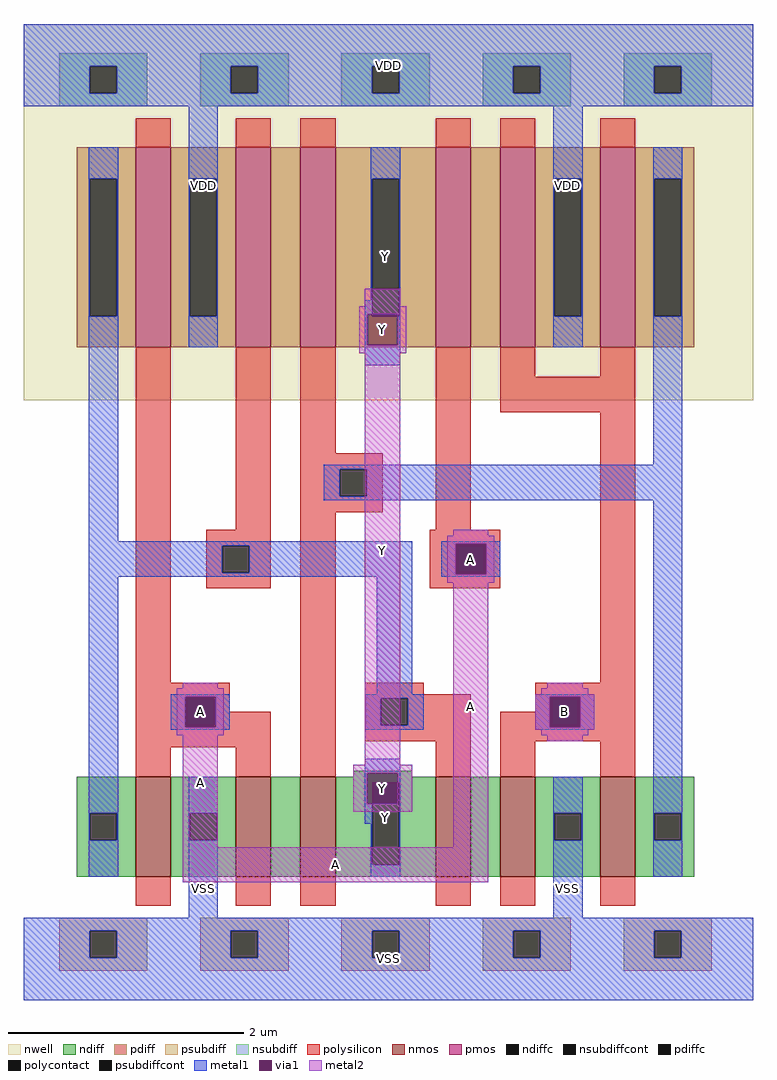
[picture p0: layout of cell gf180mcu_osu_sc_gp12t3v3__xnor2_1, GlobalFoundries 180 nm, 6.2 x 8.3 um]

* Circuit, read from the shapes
.subckt gf180mcu_osu_sc_gp12t3v3__xnor2_1 A B Y VDD VSS
XM1 VSS A n1 VSS nfet_03v3 w=0.85u l=0.3u
XM2 n2 A VSS VSS nfet_03v3 w=0.85u l=0.3u
XM3 Y n3 n2 VSS nfet_03v3 w=0.85u l=0.3u
XM4 n4 n1 Y VSS nfet_03v3 w=0.85u l=0.3u
XM5 VSS B n4 VSS nfet_03v3 w=0.85u l=0.3u
XM6 n3 B VSS VSS nfet_03v3 w=0.85u l=0.3u
XM7 VDD A n1 VDD pfet_03v3 w=1.7u l=0.3u
XM8 n5 n1 VDD VDD pfet_03v3 w=1.7u l=0.3u
XM9 Y n3 n5 VDD pfet_03v3 w=1.7u l=0.3u
XM10 n6 A Y VDD pfet_03v3 w=1.7u l=0.3u
XM11 VDD B n6 VDD pfet_03v3 w=1.7u l=0.3u
XM12 n3 B VDD VDD pfet_03v3 w=1.7u l=0.3u
.ends

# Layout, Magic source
magic
tech gf180mcuA
magscale 1 10
<< nwell >>
rect 0 1020 1240 1660
<< nmos >>
rect 190 210 250 380
rect 360 210 420 380
rect 470 210 530 380
rect 700 210 760 380
rect 810 210 870 380
rect 980 210 1040 380
<< pmos >>
rect 190 1110 250 1450
rect 360 1110 420 1450
rect 470 1110 530 1450
rect 700 1110 760 1450
rect 810 1110 870 1450
rect 980 1110 1040 1450
<< ndiff >>
rect 560 380 660 390
rect 90 318 190 380
rect 90 272 112 318
rect 158 272 190 318
rect 90 210 190 272
rect 250 318 360 380
rect 250 272 282 318
rect 328 272 360 318
rect 250 210 360 272
rect 420 210 470 380
rect 530 370 700 380
rect 530 230 592 370
rect 638 230 700 370
rect 530 210 700 230
rect 760 210 810 380
rect 870 318 980 380
rect 870 272 902 318
rect 948 272 980 318
rect 870 210 980 272
rect 1040 318 1140 380
rect 1040 272 1072 318
rect 1118 272 1140 318
rect 1040 210 1140 272
<< pdiff >>
rect 90 1397 190 1450
rect 90 1163 112 1397
rect 158 1163 190 1397
rect 90 1110 190 1163
rect 250 1397 360 1450
rect 250 1163 282 1397
rect 328 1163 360 1397
rect 250 1110 360 1163
rect 420 1110 470 1450
rect 530 1397 700 1450
rect 530 1163 592 1397
rect 638 1163 700 1397
rect 530 1110 700 1163
rect 760 1110 810 1450
rect 870 1397 980 1450
rect 870 1163 902 1397
rect 948 1163 980 1397
rect 870 1110 980 1163
rect 1040 1397 1140 1450
rect 1040 1163 1072 1397
rect 1118 1163 1140 1397
rect 1040 1110 1140 1163
<< ndiffc >>
rect 112 272 158 318
rect 282 272 328 318
rect 592 230 638 370
rect 902 272 948 318
rect 1072 272 1118 318
<< pdiffc >>
rect 112 1163 158 1397
rect 282 1163 328 1397
rect 592 1163 638 1397
rect 902 1163 948 1397
rect 1072 1163 1118 1397
<< psubdiff >>
rect 60 118 210 140
rect 60 72 112 118
rect 158 72 210 118
rect 60 50 210 72
rect 300 118 450 140
rect 300 72 352 118
rect 398 72 450 118
rect 300 50 450 72
rect 540 118 690 140
rect 540 72 592 118
rect 638 72 690 118
rect 540 50 690 72
rect 780 118 930 140
rect 780 72 832 118
rect 878 72 930 118
rect 780 50 930 72
rect 1020 118 1170 140
rect 1020 72 1072 118
rect 1118 72 1170 118
rect 1020 50 1170 72
<< nsubdiff >>
rect 60 1588 210 1610
rect 60 1542 112 1588
rect 158 1542 210 1588
rect 60 1520 210 1542
rect 300 1588 450 1610
rect 300 1542 352 1588
rect 398 1542 450 1588
rect 300 1520 450 1542
rect 540 1588 690 1610
rect 540 1542 592 1588
rect 638 1542 690 1588
rect 540 1520 690 1542
rect 780 1588 930 1610
rect 780 1542 832 1588
rect 878 1542 930 1588
rect 780 1520 930 1542
rect 1020 1588 1170 1610
rect 1020 1542 1072 1588
rect 1118 1542 1170 1588
rect 1020 1520 1170 1542
<< psubdiffcont >>
rect 112 72 158 118
rect 352 72 398 118
rect 592 72 638 118
rect 832 72 878 118
rect 1072 72 1118 118
<< nsubdiffcont >>
rect 112 1542 158 1588
rect 352 1542 398 1588
rect 592 1542 638 1588
rect 832 1542 878 1588
rect 1072 1542 1118 1588
<< polysilicon >>
rect 190 1450 250 1500
rect 360 1450 420 1500
rect 470 1450 530 1500
rect 700 1450 760 1500
rect 810 1450 870 1500
rect 980 1450 1040 1500
rect 190 540 250 1110
rect 360 800 420 1110
rect 310 773 420 800
rect 310 727 337 773
rect 383 727 420 773
rect 310 700 420 727
rect 470 930 530 1110
rect 470 903 610 930
rect 470 857 537 903
rect 583 857 610 903
rect 470 830 610 857
rect 190 513 350 540
rect 190 467 277 513
rect 323 490 350 513
rect 323 467 420 490
rect 190 430 420 467
rect 190 380 250 430
rect 360 380 420 430
rect 470 380 530 830
rect 700 800 760 1110
rect 810 1060 870 1110
rect 980 1060 1040 1110
rect 810 1000 1040 1060
rect 690 773 810 800
rect 690 727 737 773
rect 783 727 810 773
rect 690 700 810 727
rect 980 540 1040 1000
rect 580 520 680 540
rect 580 513 760 520
rect 580 467 607 513
rect 653 467 760 513
rect 870 513 1040 540
rect 870 490 897 513
rect 580 440 760 467
rect 700 380 760 440
rect 810 467 897 490
rect 943 467 1040 513
rect 810 440 1040 467
rect 810 380 870 440
rect 980 380 1040 440
rect 190 160 250 210
rect 360 160 420 210
rect 470 160 530 210
rect 700 160 760 210
rect 810 160 870 210
rect 980 160 1040 210
<< polycontact >>
rect 337 727 383 773
rect 537 857 583 903
rect 277 467 323 513
rect 737 727 783 773
rect 607 467 653 513
rect 897 467 943 513
<< metal1 >>
rect 0 1588 1240 1660
rect 0 1542 112 1588
rect 158 1542 352 1588
rect 398 1542 592 1588
rect 638 1542 832 1588
rect 878 1542 1072 1588
rect 1118 1542 1240 1588
rect 0 1520 1240 1542
rect 110 1397 160 1450
rect 110 1163 112 1397
rect 158 1163 160 1397
rect 110 780 160 1163
rect 280 1397 330 1520
rect 280 1163 282 1397
rect 328 1163 330 1397
rect 590 1397 640 1450
rect 590 1190 592 1397
rect 280 1110 330 1163
rect 580 1166 592 1190
rect 580 1114 584 1166
rect 638 1163 640 1397
rect 636 1114 640 1163
rect 580 1080 640 1114
rect 900 1397 950 1520
rect 900 1163 902 1397
rect 948 1163 950 1397
rect 900 1110 950 1163
rect 1070 1397 1120 1450
rect 1070 1163 1072 1397
rect 1118 1163 1120 1397
rect 1070 910 1120 1163
rect 510 903 1120 910
rect 510 857 537 903
rect 583 857 1120 903
rect 510 850 1120 857
rect 110 773 660 780
rect 110 727 337 773
rect 383 727 660 773
rect 110 720 660 727
rect 710 776 810 780
rect 710 724 734 776
rect 786 724 810 776
rect 710 720 810 724
rect 110 318 160 720
rect 600 520 660 720
rect 250 516 350 520
rect 250 464 274 516
rect 326 464 350 516
rect 250 460 350 464
rect 580 513 680 520
rect 580 467 607 513
rect 653 467 680 513
rect 580 460 680 467
rect 870 516 970 520
rect 870 464 894 516
rect 946 464 970 516
rect 870 460 970 464
rect 580 386 640 410
rect 110 272 112 318
rect 158 272 160 318
rect 110 210 160 272
rect 280 318 330 380
rect 280 272 282 318
rect 328 272 330 318
rect 580 334 584 386
rect 636 370 640 386
rect 580 300 592 334
rect 280 140 330 272
rect 590 230 592 300
rect 638 230 640 370
rect 590 210 640 230
rect 900 318 950 380
rect 900 272 902 318
rect 948 272 950 318
rect 900 140 950 272
rect 1070 318 1120 850
rect 1070 272 1072 318
rect 1118 272 1120 318
rect 1070 210 1120 272
rect 0 118 1240 140
rect 0 72 112 118
rect 158 72 352 118
rect 398 72 592 118
rect 638 72 832 118
rect 878 72 1072 118
rect 1118 72 1240 118
rect 0 0 1240 72
<< via1 >>
rect 584 1163 592 1166
rect 592 1163 636 1166
rect 584 1114 636 1163
rect 734 773 786 776
rect 734 727 737 773
rect 737 727 783 773
rect 783 727 786 773
rect 734 724 786 727
rect 274 513 326 516
rect 274 467 277 513
rect 277 467 323 513
rect 323 467 326 513
rect 274 464 326 467
rect 894 513 946 516
rect 894 467 897 513
rect 897 467 943 513
rect 943 467 946 513
rect 894 464 946 467
rect 584 370 636 386
rect 584 334 592 370
rect 592 334 636 370
<< metal2 >>
rect 580 1180 640 1210
rect 570 1166 650 1180
rect 570 1114 584 1166
rect 636 1114 650 1166
rect 570 1100 650 1114
rect 270 530 330 540
rect 260 516 340 530
rect 260 464 274 516
rect 326 464 340 516
rect 260 450 340 464
rect 270 260 330 450
rect 580 400 640 1100
rect 730 790 790 800
rect 720 776 800 790
rect 720 724 734 776
rect 786 724 800 776
rect 720 710 800 724
rect 560 386 660 400
rect 560 334 584 386
rect 636 334 660 386
rect 560 320 660 334
rect 730 260 790 710
rect 890 530 950 540
rect 880 520 960 530
rect 870 516 970 520
rect 870 464 894 516
rect 946 464 970 516
rect 870 460 970 464
rect 880 450 960 460
rect 890 440 950 450
rect 270 200 790 260
<< labels >>
rlabel via1 s 734 724 786 776 4 A
port 1 nsew signal input
rlabel via1 s 894 464 946 516 4 B
port 2 nsew signal input
rlabel via1 s 584 334 636 386 4 Y
port 3 nsew signal output
rlabel metal1 s 280 1110 330 1660 4 VDD
port 4 nsew power bidirectional abutment
rlabel metal1 s 280 0 330 380 4 VSS
port 5 nsew ground bidirectional abutment
rlabel metal1 s 900 1110 950 1660 1 VDD
port 4 nsew power bidirectional abutment
rlabel metal1 s 0 1520 1240 1660 1 VDD
port 4 nsew power bidirectional abutment
rlabel metal1 s 900 0 950 380 1 VSS
port 5 nsew ground bidirectional abutment
rlabel metal1 s 0 0 1240 140 1 VSS
port 5 nsew ground bidirectional abutment
rlabel via1 s 274 464 326 516 1 A
port 1 nsew signal input
rlabel metal2 s 270 200 330 540 1 A
port 1 nsew signal input
rlabel metal2 s 260 450 340 530 1 A
port 1 nsew signal input
rlabel metal2 s 270 200 790 260 1 A
port 1 nsew signal input
rlabel metal2 s 730 200 790 800 1 A
port 1 nsew signal input
rlabel metal2 s 720 710 800 790 1 A
port 1 nsew signal input
rlabel metal1 s 250 460 350 520 1 A
port 1 nsew signal input
rlabel metal1 s 710 720 810 780 1 A
port 1 nsew signal input
rlabel metal2 s 890 440 950 540 1 B
port 2 nsew signal input
rlabel metal2 s 880 450 960 530 1 B
port 2 nsew signal input
rlabel metal2 s 870 460 970 520 1 B
port 2 nsew signal input
rlabel metal1 s 870 460 970 520 1 B
port 2 nsew signal input
rlabel via1 s 584 1114 636 1166 1 Y
port 3 nsew signal output
rlabel metal2 s 580 320 640 1210 1 Y
port 3 nsew signal output
rlabel metal2 s 570 1100 650 1180 1 Y
port 3 nsew signal output
rlabel metal2 s 560 320 660 400 1 Y
port 3 nsew signal output
rlabel metal1 s 580 1080 640 1190 1 Y
port 3 nsew signal output
rlabel metal1 s 590 1080 640 1450 1 Y
port 3 nsew signal output
rlabel metal1 s 590 210 640 410 1 Y
port 3 nsew signal output
rlabel metal1 s 580 300 640 410 1 Y
port 3 nsew signal output
<< properties >>
string FIXED_BBOX 0 0 1240 1660
string GDS_END 524418
string GDS_FILE $PDKPATH/libs.ref/gf180mcu_osu_sc_gp12t3v3/gds/gf180mcu_osu_sc_gp12t3v3.gds
string GDS_START 515772
string LEFclass CORE
string LEFsite gf180mcu_osu_sc_gp12t3v3
string LEFsymmetry X Y
<< end >>
